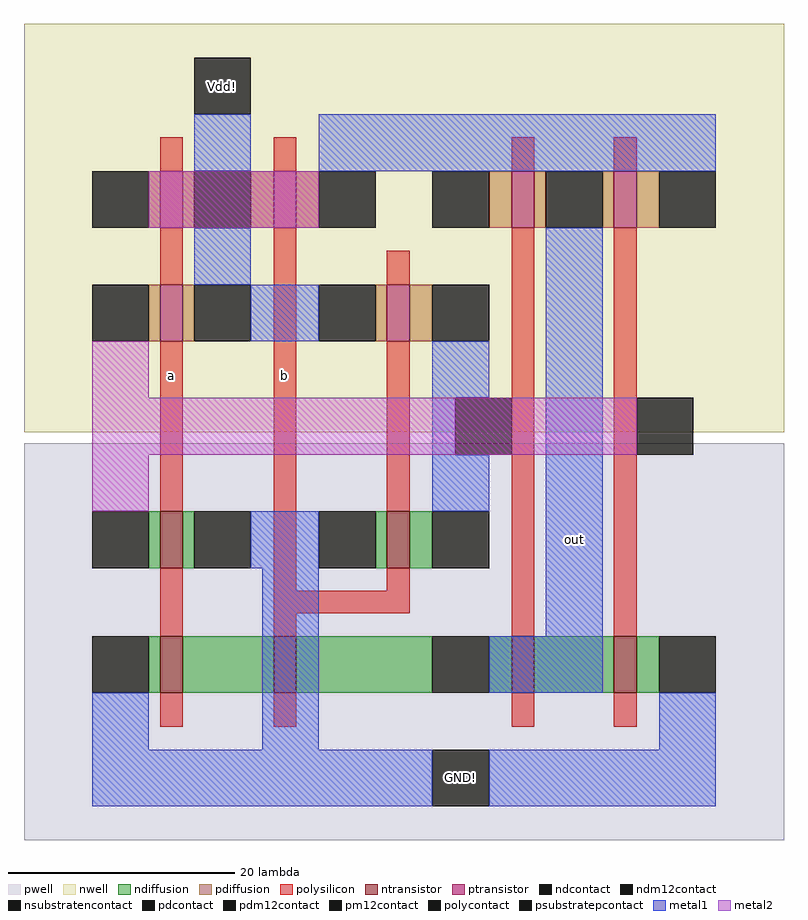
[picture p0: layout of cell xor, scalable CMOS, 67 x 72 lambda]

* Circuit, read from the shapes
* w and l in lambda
.subckt xor GND! Vdd! a b out
M1 n1 a GND! GND! nfet w=5 l=2
M2 GND! a n2 GND! nfet w=5 l=2
M3 out b n1 GND! nfet w=5 l=2
M4 n3 b GND! GND! nfet w=5 l=2
M5 n4 n3 out GND! nfet w=5 l=2
M6 GND! n2 n4 GND! nfet w=5 l=2
M7 Vdd! a n2 Vdd! pfet w=5 l=2
M8 Vdd! a out Vdd! pfet w=5 l=2
M9 out b Vdd! Vdd! pfet w=5 l=2
M10 n3 b Vdd! Vdd! pfet w=5 l=2
M11 out n3 out Vdd! pfet w=5 l=2
M12 out n2 out Vdd! pfet w=5 l=2
.ends

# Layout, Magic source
magic
tech scmos
<< nwell >>
rect 55 -19 122 17
<< pwell >>
rect 55 -55 122 -20
<< ntransistor >>
rect 67 -31 69 -26
rect 87 -31 89 -26
rect 67 -42 69 -37
rect 77 -42 79 -37
rect 98 -42 100 -37
rect 107 -42 109 -37
<< ptransistor >>
rect 67 -1 69 4
rect 77 -1 79 4
rect 98 -1 100 4
rect 107 -1 109 4
rect 67 -11 69 -6
rect 87 -11 89 -6
<< ndiffusion >>
rect 66 -31 67 -26
rect 69 -31 70 -26
rect 86 -31 87 -26
rect 89 -31 91 -26
rect 66 -42 67 -37
rect 69 -42 77 -37
rect 79 -42 91 -37
rect 96 -42 98 -37
rect 100 -42 107 -37
rect 109 -42 111 -37
<< pdiffusion >>
rect 66 -1 67 4
rect 69 -1 70 4
rect 75 -1 77 4
rect 79 -1 81 4
rect 96 -1 98 4
rect 100 -1 101 4
rect 106 -1 107 4
rect 109 -1 111 4
rect 66 -11 67 -6
rect 69 -11 70 -6
rect 86 -11 87 -6
rect 89 -11 91 -6
<< ndcontact >>
rect 70 -31 75 -26
rect 81 -31 86 -26
rect 91 -31 96 -26
rect 61 -42 66 -37
rect 91 -42 96 -37
rect 111 -42 116 -37
<< pdcontact >>
rect 70 -1 75 4
rect 91 -1 96 4
rect 101 -1 106 4
rect 111 -1 116 4
rect 70 -11 75 -6
rect 81 -11 86 -6
rect 91 -11 96 -6
<< psubstratepcontact >>
rect 91 -52 96 -47
<< nsubstratencontact >>
rect 70 9 75 14
<< polysilicon >>
rect 67 4 69 7
rect 77 4 79 7
rect 98 4 100 7
rect 107 4 109 7
rect 67 -6 69 -1
rect 67 -26 69 -11
rect 67 -37 69 -31
rect 77 -33 79 -1
rect 87 -6 89 -3
rect 87 -26 89 -11
rect 87 -33 89 -31
rect 77 -35 89 -33
rect 77 -37 79 -35
rect 98 -37 100 -1
rect 107 -37 109 -1
rect 67 -45 69 -42
rect 77 -45 79 -42
rect 98 -45 100 -42
rect 107 -45 109 -42
<< polycontact >>
rect 93 -21 98 -16
<< metal1 >>
rect 70 4 75 9
rect 81 4 116 9
rect 70 -6 75 -1
rect 75 -11 81 -6
rect 91 -16 96 -11
rect 91 -21 93 -16
rect 91 -26 96 -21
rect 75 -31 81 -26
rect 61 -47 66 -42
rect 76 -47 81 -31
rect 101 -37 106 -1
rect 96 -42 106 -37
rect 111 -47 116 -42
rect 61 -52 91 -47
rect 96 -52 116 -47
<< pm12contact >>
rect 109 -21 114 -16
<< pdm12contact >>
rect 61 -1 66 4
rect 81 -1 86 4
rect 61 -11 66 -6
<< ndm12contact >>
rect 61 -31 66 -26
<< metal2 >>
rect 66 -1 81 4
rect 61 -16 66 -11
rect 61 -21 109 -16
rect 61 -26 66 -21
<< labels >>
rlabel polysilicon 77 -15 79 -13 1 b
rlabel metal1 101 -31 106 -26 1 out
rlabel polysilicon 67 -15 69 -13 1 a
rlabel nsubstratencontact 70 9 75 14 5 Vdd!
rlabel psubstratepcontact 91 -52 96 -47 1 GND!
<< end >>
